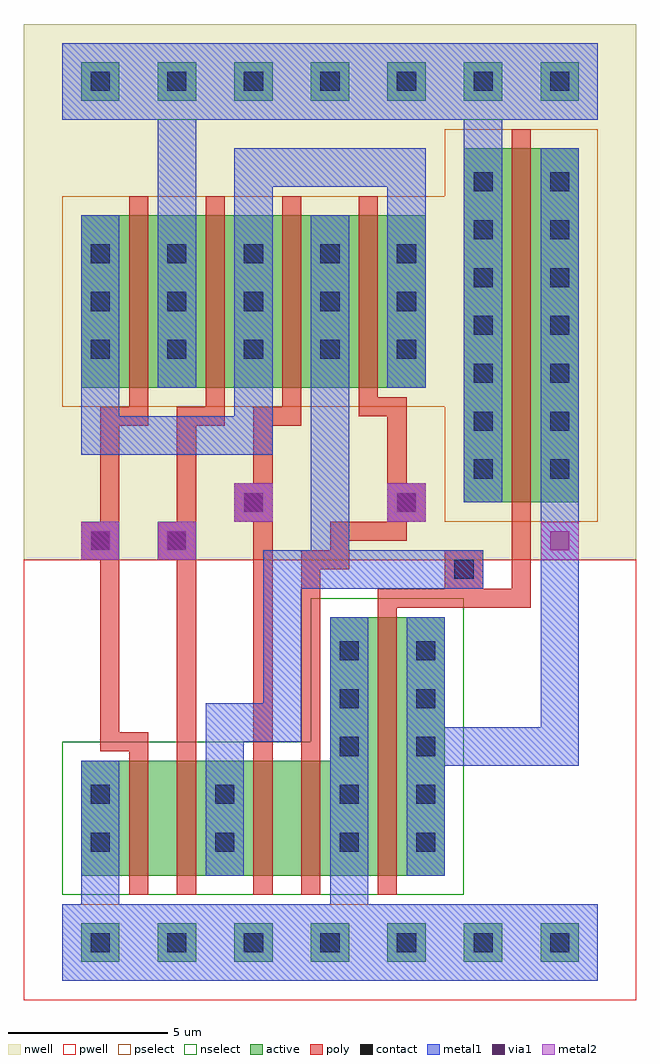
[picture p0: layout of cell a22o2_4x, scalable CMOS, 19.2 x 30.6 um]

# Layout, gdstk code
import gdstk
lib = gdstk.Library(unit=1e-6, precision=1e-09)
def R(c, l, rs):  # rectangles x0, y0, x1, y1
    for r in rs: c.add(gdstk.rectangle(r[:2], r[2:], *l))
def A(c, l, x, y, w, h, nx, ny, dx, dy):  # array of equal rectangles
    R(c, l, [(x+i*dx, y+j*dy, x+i*dx+w, y+j*dy+h) for i in range(nx) for j in range(ny)])
contact = (25, 0)
pwell = (41, 0)
nwell = (42, 0)
active = (43, 0)
pselect = (44, 0)
nselect = (45, 0)
poly = (46, 0)
metal1 = (49, 0)
via1 = (50, 0)
metal2 = (51, 0)

a22o2_4x = lib.new_cell('a22o2_4x')
A(a22o2_4x, contact, 0.3, -0.3, 0.6, 0.6, 7, 2, 2.4, 27)
A(a22o2_4x, contact, 0.3, 2.85, 0.6, 0.6, 3, 2, 3.9, 1.5)
A(a22o2_4x, contact, 10.5, 2.85, 0.6, 0.6, 1, 5, 0, 1.5)
A(a22o2_4x, contact, 8.1, 5.85, 0.6, 0.6, 1, 3, 0, 1.5)
A(a22o2_4x, contact, 12.3, 14.55, 0.6, 0.6, 1, 7, 0, 1.5)
A(a22o2_4x, contact, 14.7, 14.55, 0.6, 0.6, 1, 7, 0, 1.5)
A(a22o2_4x, contact, 0.3, 18.3, 0.6, 0.6, 5, 3, 2.4, 1.5)
R(a22o2_4x, contact, [(11.7,11.4,12.3,12), (0.3,12.3,0.9,12.9), (2.7,12.3,3.3,12.9), (5.1,13.5,5.7,14.1), (9.9,13.5,10.5,14.1)])
A(a22o2_4x, pwell, -0.9, -1.5, 3, 3, 7, 1, 2.4, 0)
R(a22o2_4x, pwell, [(-1.8,-1.8,17.4,12), (-1.8,0.3,3,7.5), (-1.2,0.3,4.8,7.5), (0.3,0.3,6.3,7.5), (2.1,0.3,6.9,7.5), (2.7,0.3,8.7,7.5), (4.2,0.3,10.2,7.5), (6,0.3,10.8,12), (6.6,0.3,12.6,12), (8.4,0.3,13.2,12), (6.075,1.35,10.65,5.85), (-1.65,1.65,2.925,6.15), (-0.075,1.65,5.175,6.15), (2.175,1.65,6.75,6.15), (2.25,1.65,6.825,6.15), (3.825,1.65,9.075,6.15), (6.15,3.75,10.725,8.25), (8.475,3.9,13.05,8.4)])
A(a22o2_4x, nwell, -1.8, 15.6, 4.8, 9, 5, 1, 2.4, 0)
A(a22o2_4x, nwell, -1.2, 15.6, 6, 9, 4, 1, 2.4, 0)
A(a22o2_4x, nwell, -0.9, 25.5, 3, 3, 7, 1, 2.4, 0)
R(a22o2_4x, nwell, [(-1.8,12,17.4,28.8), (10.2,12,15,26.7), (10.8,12,16.8,26.7), (12.6,12,17.4,26.7), (12.675,17.25,17.25,21.75), (-1.65,17.85,2.925,22.35), (0.675,17.85,5.25,22.35), (0.75,17.85,5.325,22.35), (3.075,17.85,7.65,22.35), (3.15,17.85,7.725,22.35), (5.475,17.85,10.05,22.35), (5.55,17.85,10.125,22.35), (7.875,17.85,12.45,22.35), (10.35,20.85,14.925,25.35)])
A(a22o2_4x, active, 0, -0.6, 1.2, 1.2, 7, 2, 2.4, 27)
A(a22o2_4x, active, 0, 17.4, 1.2, 5.4, 5, 1, 2.4, 0)
A(a22o2_4x, active, 0.6, 17.4, 2.4, 5.4, 4, 1, 2.4, 0)
R(a22o2_4x, active, [(0,2.1,1.2,5.7), (0.6,2.1,3,5.7), (2.1,2.1,4.5,5.7), (3.9,2.1,5.1,5.7), (4.5,2.1,6.9,5.7), (6,2.1,8.4,5.7), (7.8,2.1,9,10.2), (8.4,2.1,10.8,10.2), (10.2,2.1,11.4,10.2), (7.875,3.15,8.85,4.05), (0.15,3.45,1.125,4.35), (1.725,3.45,3.375,4.35), (3.975,3.45,4.95,4.35), (4.05,3.45,5.025,4.35), (5.625,3.45,7.275,4.35), (7.95,5.55,8.925,6.45), (10.275,5.7,11.25,6.6), (12,13.8,13.2,24.9), (12.6,13.8,15,24.9), (14.4,13.8,15.6,24.9), (14.475,19.05,15.45,19.95), (0.15,19.65,1.125,20.55), (2.475,19.65,3.45,20.55), (2.55,19.65,3.525,20.55), (4.875,19.65,5.85,20.55), (4.95,19.65,5.925,20.55), (7.275,19.65,8.25,20.55), (7.35,19.65,8.325,20.55), (9.675,19.65,10.65,20.55), (12.15,22.65,13.125,23.55)])
A(a22o2_4x, pselect, -0.6, -1.2, 2.4, 2.4, 7, 1, 2.4, 0)
A(a22o2_4x, pselect, -0.6, 16.8, 2.4, 6.6, 5, 1, 2.4, 0)
A(a22o2_4x, pselect, 0, 16.8, 3.6, 6.6, 4, 1, 2.4, 0)
R(a22o2_4x, pselect, [(11.4,13.2,13.8,25.5), (12,13.2,15.6,25.5), (13.8,13.2,16.2,25.5), (13.875,18.45,16.05,20.55), (-0.45,19.05,1.725,21.15), (1.875,19.05,4.05,21.15), (1.95,19.05,4.125,21.15), (4.275,19.05,6.45,21.15), (4.35,19.05,6.525,21.15), (6.675,19.05,8.85,21.15), (6.75,19.05,8.925,21.15), (9.075,19.05,11.25,21.15), (11.55,22.05,13.725,24.15)])
A(a22o2_4x, nselect, -0.6, 25.8, 2.4, 2.4, 7, 1, 2.4, 0)
R(a22o2_4x, nselect, [(-0.6,1.5,1.8,6.3), (0,1.5,3.6,6.3), (1.5,1.5,5.1,6.3), (3.3,1.5,5.7,6.3), (3.9,1.5,7.5,6.3), (5.4,1.5,9,6.3), (7.2,1.5,9.6,10.8), (7.8,1.5,11.4,10.8), (9.6,1.5,12,10.8), (7.275,2.55,9.45,4.65), (-0.45,2.85,1.725,4.95), (1.125,2.85,3.975,4.95), (3.375,2.85,5.55,4.95), (3.45,2.85,5.625,4.95), (5.025,2.85,7.875,4.95), (7.35,4.95,9.525,7.05), (9.675,5.1,11.85,7.2)])
A(a22o2_4x, poly, 0.6, 16.2, 1.5, 0.6, 3, 1, 2.4, 0)
A(a22o2_4x, poly, 1.5, 16.2, 0.6, 0.9, 3, 1, 2.4, 0)
A(a22o2_4x, poly, 1.5, 16.8, 0.6, 6.6, 4, 1, 2.4, 0)
R(a22o2_4x, poly, [(1.5,1.5,2.1,6.3), (3,1.5,3.6,6.3), (5.4,1.5,6,6.3), (6.9,1.5,7.5,6.3), (9.3,1.5,9.9,10.8), (0.6,6,2.1,6.6), (0.6,6,1.2,12.9), (3,6,3.6,12.9), (5.4,6,6,14.1), (6.9,6,7.5,12.3), (9.3,10.5,12.15,11.1), (11.55,10.5,14.1,11.1), (11.55,10.5,12.15,12), (13.5,10.5,14.1,13.5), (11.4,11.1,12.6,12.3), (6.9,11.7,8.4,12.3), (7.8,11.7,8.4,13.2), (0,12,1.2,13.2), (2.4,12,3.6,13.2), (0.3,12.3,1.2,12.9), (0.6,12.3,1.2,16.8), (2.7,12.3,3.6,12.9), (3,12.3,3.6,16.8), (7.8,12.6,10.2,13.2), (9.6,12.6,10.2,14.1), (4.8,13.2,6,14.4), (9.6,13.2,10.8,14.4), (13.5,13.2,14.1,25.5), (5.1,13.5,6,14.1), (5.4,13.5,6,16.8), (9.6,13.5,10.5,14.1), (9.6,13.5,10.2,17.1), (8.7,16.5,10.2,17.1)])
A(a22o2_4x, metal1, -0.6, -1.2, 4.8, 2.4, 3, 1, 2.4, 0)
A(a22o2_4x, metal1, 0, -0.6, 1.2, 1.2, 6, 1, 2.4, 0)
A(a22o2_4x, metal1, 0, 17.4, 1.2, 5.4, 5, 1, 2.4, 0)
A(a22o2_4x, metal1, 6.6, 25.8, 4.8, 2.4, 3, 1, 2.4, 0)
A(a22o2_4x, metal1, 0, 26.4, 1.2, 1.2, 4, 1, 2.4, 0)
A(a22o2_4x, metal1, 9.6, 26.4, 1.2, 1.2, 3, 1, 2.4, 0)
R(a22o2_4x, metal1, [(-0.6,-1.2,1.8,1.2), (-0.6,-1.2,4.2,1.2), (6.6,-1.2,9.6,1.2), (7.2,-1.2,11.4,1.2), (9,-1.2,13.8,1.2), (11.4,-1.2,16.2,1.2), (0,-0.6,1.2,0.6), (0,-0.6,1.2,3.3), (7.8,-0.6,9,3.3), (12,-0.6,13.2,0.6), (14.4,-0.6,15.6,0.6), (14.4,-0.6,15.6,0.6), (0,2.1,1.2,5.7), (3.9,2.1,5.1,5.7), (7.8,2.1,9,10.2), (10.2,2.1,11.4,10.2), (3.9,4.5,5.1,7.5), (10.2,5.55,15.6,6.75), (14.4,5.55,15.6,12.9), (3.9,6.3,6.9,7.5), (5.7,6.3,6.9,12.3), (5.7,11.1,8.4,12.3), (7.2,11.1,8.4,18.6), (7.2,11.1,12.45,12.3), (11.4,11.1,12.6,12.3), (0,12,1.2,13.2), (0,12,1.2,13.2), (0,12,1.2,13.2), (2.4,12,3.6,13.2), (2.4,12,3.6,13.2), (2.4,12,3.6,13.2), (14.4,12,15.6,13.2), (14.4,12,15.6,13.2), (14.4,12,15.6,13.2), (14.4,12,15.6,15), (4.8,13.2,6,14.4), (4.8,13.2,6,14.4), (4.8,13.2,6,14.4), (9.6,13.2,10.8,14.4), (9.6,13.2,10.8,14.4), (9.6,13.2,10.8,14.4), (12,13.8,13.2,24.9), (14.4,13.8,15.6,24.9), (0,15.3,1.2,20.7), (0,15.3,6,16.5), (4.8,15.3,6,20.7), (4.8,19.5,6,24.9), (2.4,21.6,3.6,27.6), (9.6,21.6,10.8,24.9), (4.8,23.7,10.8,24.9), (12,23.7,13.2,27.6), (-0.6,25.8,1.8,28.2), (-0.6,25.8,4.2,28.2), (1.8,25.8,9,28.2), (13.8,25.8,16.2,28.2), (0,26.4,1.2,27.6), (4.8,26.4,8.4,27.6), (7.2,26.4,8.4,27.6), (9.6,26.4,10.8,27.6), (14.4,26.4,15.6,27.6)])
R(a22o2_4x, via1, [(0.3,12.3,0.9,12.9), (2.7,12.3,3.3,12.9), (14.7,12.3,15.3,12.9), (5.1,13.5,5.7,14.1), (9.9,13.5,10.5,14.1)])
R(a22o2_4x, metal2, [(0,12,1.2,13.2), (2.4,12,3.6,13.2), (14.4,12,15.6,13.2), (4.8,13.2,6,14.4), (9.6,13.2,10.8,14.4)])

lib.write_gds('a22o2_4x.gds')
